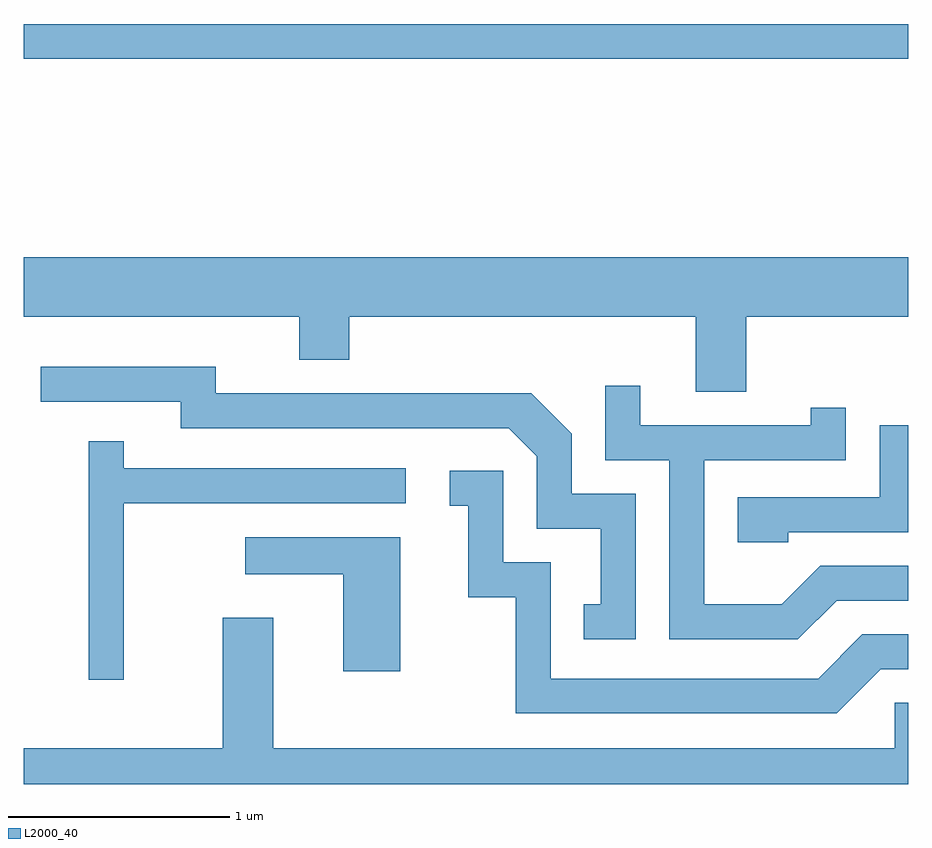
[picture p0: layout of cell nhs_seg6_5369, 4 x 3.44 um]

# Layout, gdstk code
import gdstk
lib = gdstk.Library(unit=1e-6, precision=1e-09)
def R(c, l, rs):  # rectangles x0, y0, x1, y1
    for r in rs: c.add(gdstk.rectangle(r[:2], r[2:], *l))
def P(c, l, *ps):  # polygons
    for p in ps: c.add(gdstk.Polygon(p, *l))
L2000_40 = (2000, 40)

nhs_seg6_5369 = lib.new_cell('nhs_seg6_5369')
R(nhs_seg6_5369, L2000_40, [(349.611,1533.441,353.611,1533.599)])
P(nhs_seg6_5369, L2000_40, [(352.879,1532.276),(353.611,1532.276),(353.611,1532.544),(349.611,1532.544),(349.611,1532.276),(350.856,1532.276),(350.856,1532.081),(351.084,1532.081),(351.084,1532.276),(352.651,1532.276),(352.651,1531.936),(352.879,1531.936)],
  [(352.379,1531.474),(352.089,1531.474),(352.089,1531.747),(351.907,1531.929),(350.479,1531.929),(350.479,1532.049),(349.688,1532.049),(349.688,1531.891),(350.321,1531.891),(350.321,1531.771),(351.804,1531.771),(351.931,1531.644),(351.931,1531.316),(352.221,1531.316),(352.221,1530.974),(352.143,1530.974),(352.143,1530.816),(352.379,1530.816)],
  [(353.287,1530.991),(353.611,1530.991),(353.611,1531.149),(353.214,1531.149),(353.039,1530.974),(352.689,1530.974),(352.689,1531.626),(353.329,1531.626),(353.329,1531.863),(353.171,1531.863),(353.171,1531.784),(352.399,1531.784),(352.399,1531.963),(352.241,1531.963),(352.241,1531.626),(352.531,1531.626),(352.531,1530.816),(353.112,1530.816)],
  [(353.069,1531.301),(353.611,1531.301),(353.611,1531.784),(353.481,1531.784),(353.481,1531.459),(352.841,1531.459),(352.841,1531.256),(353.069,1531.256)],
  [(350.064,1531.431),(351.338,1531.431),(351.338,1531.589),(350.064,1531.589),(350.064,1531.713),(349.906,1531.713),(349.906,1530.633),(350.064,1530.633)],
  [(353.487,1530.681),(353.611,1530.681),(353.611,1530.839),(353.404,1530.839),(353.204,1530.639),(351.994,1530.639),(351.994,1531.164),(351.779,1531.164),(351.779,1531.579),(351.538,1531.579),(351.538,1531.421),(351.621,1531.421),(351.621,1531.006),(351.836,1531.006),(351.836,1530.481),(353.287,1530.481)],
  [(351.314,1531.279),(350.613,1531.279),(350.613,1531.111),(351.056,1531.111),(351.056,1530.671),(351.314,1530.671)],
  [(353.611,1530.529),(353.551,1530.529),(353.551,1530.324),(350.739,1530.324),(350.739,1530.914),(350.511,1530.914),(350.511,1530.324),(349.611,1530.324),(349.611,1530.162),(353.611,1530.162)])

lib.write_gds('nhs_seg6_5369.gds')
